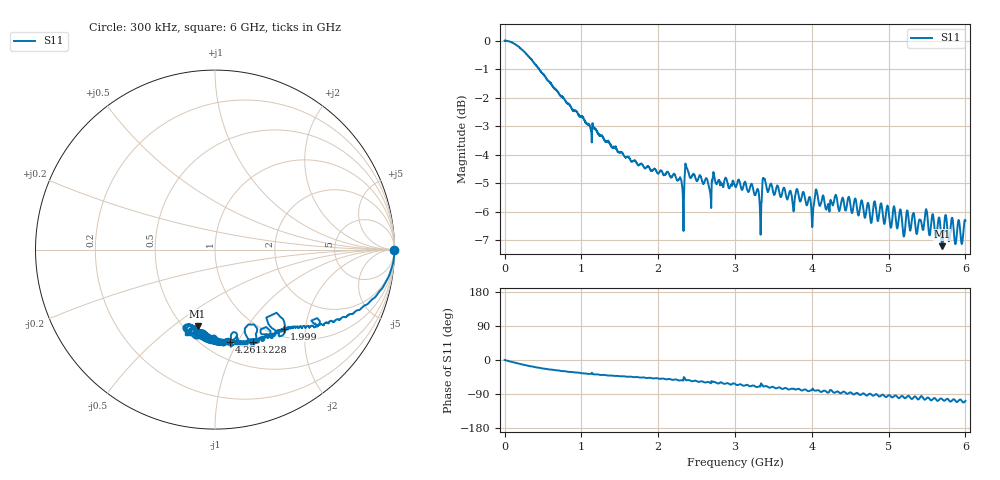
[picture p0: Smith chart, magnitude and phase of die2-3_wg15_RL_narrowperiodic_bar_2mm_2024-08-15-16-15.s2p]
!Keysight Technologies,P9374A,MY57304198,A.17.20.09
!Date: Thursday, August 15, 2024 16:15:57
!Correction: S11(C  1-Port  )
!S21(C  1-Port  )
!S12(Off)
!S22(Off)
!S2P File: Measurements: S11, S21, S12, S22:
# Hz S  dB  R 50
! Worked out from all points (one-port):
!   6000 points, 300 kHz to 6 GHz, reference 50 ohm
!   lowest |S11| = -7.2 dB at 5.697 GHz (marker M1), VSWR 2.55, Z = 29.2 - j30.7 ohm
!   |S11| at or under -10 dB: nowhere
!   S11 on the Smith chart (normalised r, x): 300 kHz: open; 1.999 GHz: 1.15, -1.54; 3.228 GHz: 0.78, -1.17; 4.261 GHz: 0.66, -0.93; 6 GHz: 0.50, -0.60
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300000  -0.00 -0.0  -200.00 45.0  -200.00 45.0  -200.00 45.0
1.763205e8  -0.20 -9.3  -200.00 45.0  -200.00 45.0  -200.00 45.0
4.133482e8  -0.88 -19.6  -200.00 45.0  -200.00 45.0  -200.00 45.0
1.000417e9  -2.68 -34.8  -200.00 45.0  -200.00 45.0  -200.00 45.0
1.414465e9  -3.72 -41.9  -200.00 45.0  -200.00 45.0  -200.00 45.0
1.998533e9  -4.65 -48.8  -200.00 45.0  -200.00 45.0  -200.00 45.0
2.000533e9  -4.66 -49.0  -200.00 45.0  -200.00 45.0  -200.00 45.0
2.279566e9  -4.83 -54.1  -200.00 45.0  -200.00 45.0  -200.00 45.0
2.322571e9  -5.56 -54.3  -200.00 45.0  -200.00 45.0  -200.00 45.0
2.381578e9  -4.51 -53.2  -200.00 45.0  -200.00 45.0  -200.00 45.0
3.00065e9  -5.11 -63.2  -200.00 45.0  -200.00 45.0  -200.00 45.0
3.227677e9  -5.08 -67.4  -200.00 45.0  -200.00 45.0  -200.00 45.0
3.327688e9  -6.17 -70.2  -200.00 45.0  -200.00 45.0  -200.00 45.0
3.387695e9  -4.86 -69.4  -200.00 45.0  -200.00 45.0  -200.00 45.0
3.699732e9  -5.41 -78.0  -200.00 45.0  -200.00 45.0  -200.00 45.0
4.000767e9  -6.26 -79.5  -200.00 45.0  -200.00 45.0  -200.00 45.0
4.059774e9  -5.23 -80.6  -200.00 45.0  -200.00 45.0  -200.00 45.0
4.20079e9  -5.84 -85.6  -200.00 45.0  -200.00 45.0  -200.00 45.0
4.260797e9  -5.69 -81.0  -200.00 45.0  -200.00 45.0  -200.00 45.0
5.000883e9  -5.99 -93.0  -200.00 45.0  -200.00 45.0  -200.00 45.0
5.696965e9  -7.21 -102.9  -200.00 45.0  -200.00 45.0  -200.00 45.0
6e9  -6.31 -107.9  -200.00 45.0  -200.00 45.0  -200.00 45.0
